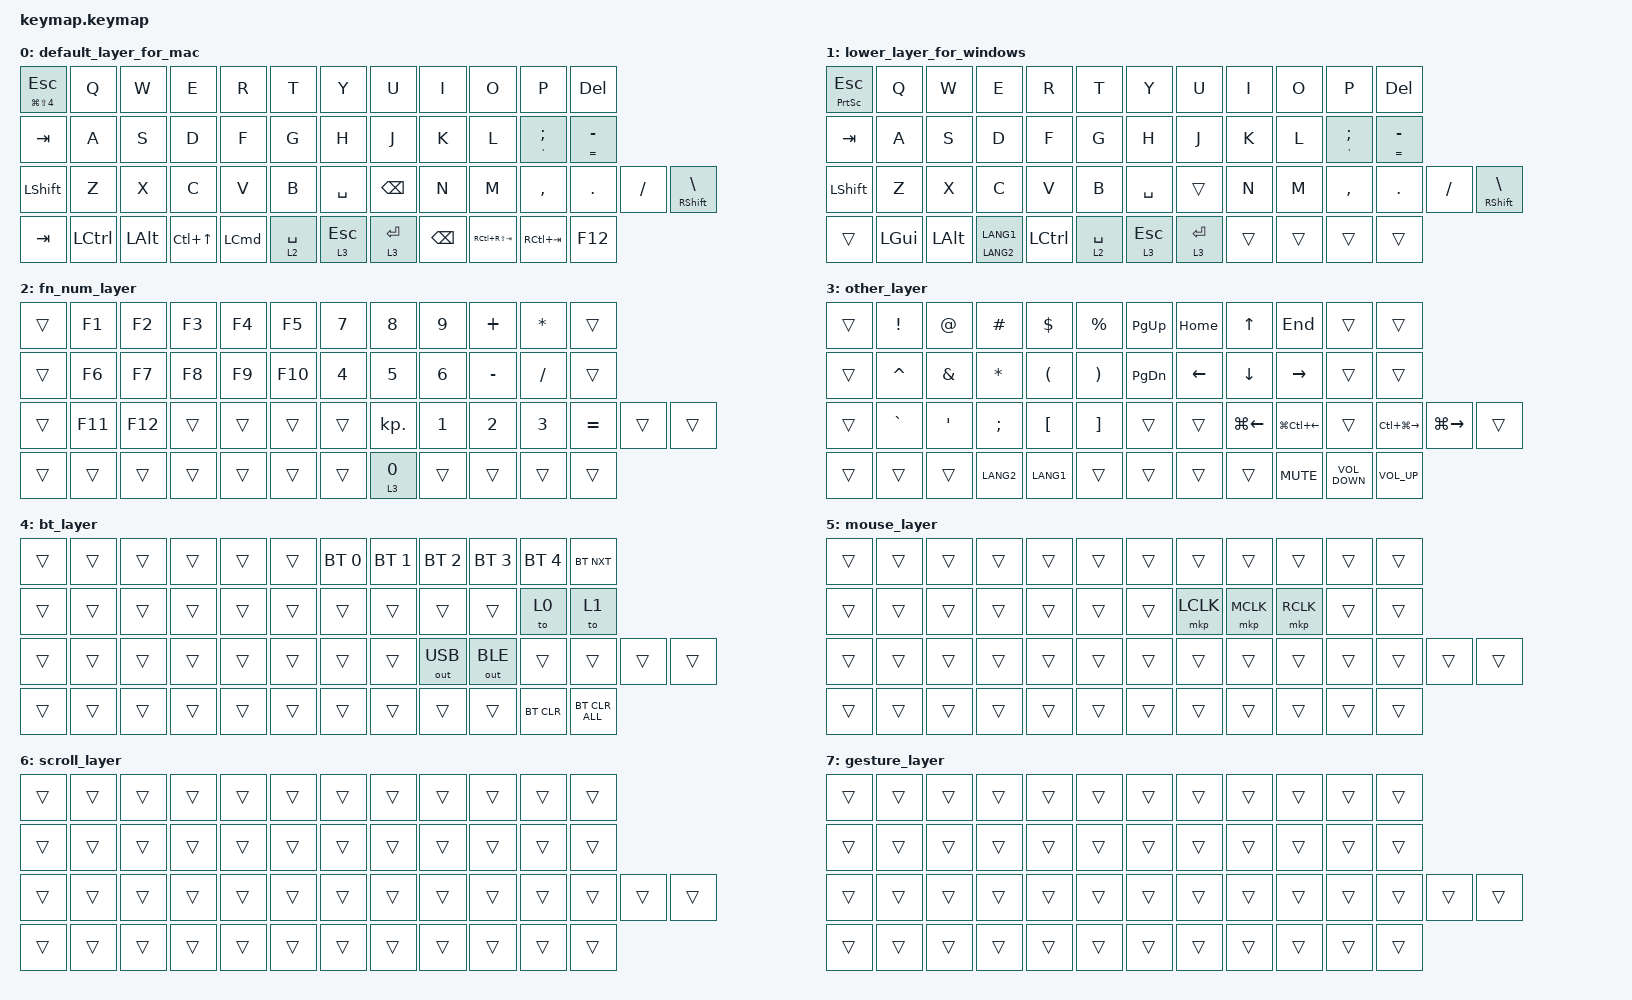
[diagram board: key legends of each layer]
#include <input/processors.dtsi>
#include <behaviors.dtsi>
#include <dt-bindings/zmk/bt.h>
#include <dt-bindings/zmk/keys.h>
#include <dt-bindings/zmk/outputs.h>
#include <dt-bindings/zmk/pointing.h>

&mkp_input_listener {
    //クリック後1秒でAMLを抜ける

    input-processors = <&zip_temp_layer 5 1000>;
};

/ {
    combos {
        compatible = "zmk,combos";

        to_scroll_layer {
            bindings = <&mo 6>;
            key-positions = <20 21>;
        };

        to_gesture_layer {
            bindings = <&mo 7>;
            key-positions = <8 9>;
            require-prior-idle-ms = <150>;
        };
    };

    behaviors {
        mt_controlled: mod_tap_controlled {
            compatible = "zmk,behavior-hold-tap";
            bindings = <&kp>, <&kp>;

            #binding-cells = <2>;
            tapping-term-ms = <200>;
            quick-tap-ms = <200>;
            require-prior-idle-ms = <100>;
            flavor = "balanced";
        };
    };

    keymap {
        compatible = "zmk,keymap";

        default_layer_for_mac {
            bindings = <
&mt LG(LS(N4)) ESC  &kp Q             &kp W         &kp E             &kp R             &kp T        &kp Y         &kp U          &kp I          &kp O            &kp P                    &kp DELETE
&kp TAB             &kp A             &kp S         &kp D             &kp F             &kp G        &kp H         &kp J          &kp K          &kp L            &mt_controlled SQT SEMI  &mt_controlled EQUAL MINUS
&kp LSHFT           &kp Z             &kp X         &kp C             &kp V             &kp B        &kp SPACE     &kp BACKSPACE  &kp N          &kp M            &kp COMMA                &kp DOT                     &kp SLASH  &mt_controlled RIGHT_SHIFT BACKSLASH
&kp TAB             &kp LEFT_CONTROL  &kp LEFT_ALT  &kp LC(UP_ARROW)  &kp LEFT_COMMAND  &lt 2 SPACE  &lt 3 ESCAPE  &lt 3 ENTER    &kp BACKSPACE  &kp RC(RS(TAB))  &kp RC(TAB)              &kp F12
            >;
        };

        lower_layer_for_windows {
            bindings = <
&mt PRINTSCREEN ESC  &kp Q     &kp W     &kp E                       &kp R      &kp T        &kp Y      &kp U        &kp I   &kp O   &kp P                    &kp DELETE
&kp TAB              &kp A     &kp S     &kp D                       &kp F      &kp G        &kp H      &kp J        &kp K   &kp L   &mt_controlled SQT SEMI  &mt_controlled EQUAL MINUS
&kp LSHFT            &kp Z     &kp X     &kp C                       &kp V      &kp B        &kp SPACE  &trans       &kp N   &kp M   &kp COMMA                &kp DOT                     &kp FSLH  &mt_controlled RSHFT BACKSLASH
&trans               &kp LGUI  &kp LALT  &mt_controlled LANG2 LANG1  &kp LCTRL  &lt 2 SPACE  &lt 3 ESC  &lt 3 ENTER  &trans  &trans  &trans                   &trans
            >;
        };

        fn_num_layer {
            bindings = <
&trans  &kp F1   &kp F2   &kp F3  &kp F4  &kp F5   &kp N7  &kp N8      &kp N9  &kp PLUS   &kp ASTERISK  &trans
&trans  &kp F6   &kp F7   &kp F8  &kp F9  &kp F10  &kp N4  &kp N5      &kp N6  &kp MINUS  &kp SLASH     &trans
&trans  &kp F11  &kp F12  &trans  &trans  &trans   &trans  &kp KP_DOT  &kp N1  &kp N2     &kp N3        &kp EQUAL  &trans  &trans
&trans  &trans   &trans   &trans  &trans  &trans   &trans  &lt 3 N0    &trans  &trans     &trans        &trans
            >;
        };

        other_layer {
            bindings = <
&trans  &kp EXCLAMATION  &kp AT_SIGN    &kp HASH      &kp DOLLAR            &kp PERCENT            &kp PG_UP  &kp HOME  &kp UP        &kp END           &trans             &trans
&trans  &kp CARET        &kp AMPERSAND  &kp ASTERISK  &kp LEFT_PARENTHESIS  &kp RIGHT_PARENTHESIS  &kp PG_DN  &kp LEFT  &kp DOWN      &kp RIGHT         &trans             &trans
&trans  &kp GRAVE        &kp APOS       &kp SEMI      &kp LBKT              &kp RBKT               &trans     &trans    &kp LG(LEFT)  &kp LG(LC(LEFT))  &trans             &kp LC(LG(RIGHT))  &kp LG(RIGHT)  &trans
&trans  &trans           &trans         &kp LANG2     &kp LANG1             &trans                 &trans     &trans    &trans        &kp C_MUTE        &kp C_VOLUME_DOWN  &kp C_VOLUME_UP
            >;
        };

        bt_layer {
            bindings = <
&trans  &trans  &trans  &trans  &trans  &trans  &bt BT_SEL 0  &bt BT_SEL 1  &bt BT_SEL 2  &bt BT_SEL 3  &bt BT_SEL 4  &bt BT_NXT
&trans  &trans  &trans  &trans  &trans  &trans  &trans        &trans        &trans        &trans        &to 0         &to 1
&trans  &trans  &trans  &trans  &trans  &trans  &trans        &trans        &out OUT_USB  &out OUT_BLE  &trans        &trans          &trans  &trans
&trans  &trans  &trans  &trans  &trans  &trans  &trans        &trans        &trans        &trans        &bt BT_CLR    &bt BT_CLR_ALL
            >;
        };

        mouse_layer {
            bindings = <
&trans  &trans  &trans  &trans  &trans  &trans  &trans  &trans     &trans     &trans     &trans  &trans
&trans  &trans  &trans  &trans  &trans  &trans  &trans  &mkp LCLK  &mkp MCLK  &mkp RCLK  &trans  &trans
&trans  &trans  &trans  &trans  &trans  &trans  &trans  &trans     &trans     &trans     &trans  &trans  &trans  &trans
&trans  &trans  &trans  &trans  &trans  &trans  &trans  &trans     &trans     &trans     &trans  &trans
            >;
        };

        scroll_layer {
            bindings = <
&trans  &trans  &trans  &trans  &trans  &trans  &trans  &trans  &trans  &trans  &trans  &trans
&trans  &trans  &trans  &trans  &trans  &trans  &trans  &trans  &trans  &trans  &trans  &trans
&trans  &trans  &trans  &trans  &trans  &trans  &trans  &trans  &trans  &trans  &trans  &trans  &trans  &trans
&trans  &trans  &trans  &trans  &trans  &trans  &trans  &trans  &trans  &trans  &trans  &trans
            >;
        };

        gesture_layer {
            bindings = <
&trans  &trans  &trans  &trans  &trans  &trans  &trans  &trans  &trans  &trans  &trans  &trans
&trans  &trans  &trans  &trans  &trans  &trans  &trans  &trans  &trans  &trans  &trans  &trans
&trans  &trans  &trans  &trans  &trans  &trans  &trans  &trans  &trans  &trans  &trans  &trans  &trans  &trans
&trans  &trans  &trans  &trans  &trans  &trans  &trans  &trans  &trans  &trans  &trans  &trans
            >;
        };
    };

    conditional_layers {
        compatible = "zmk,conditional-layers";

        Cond_FunBtlayer {
            if-layers = <2 3>;
            then-layer = <4>;
        };
    };
};
